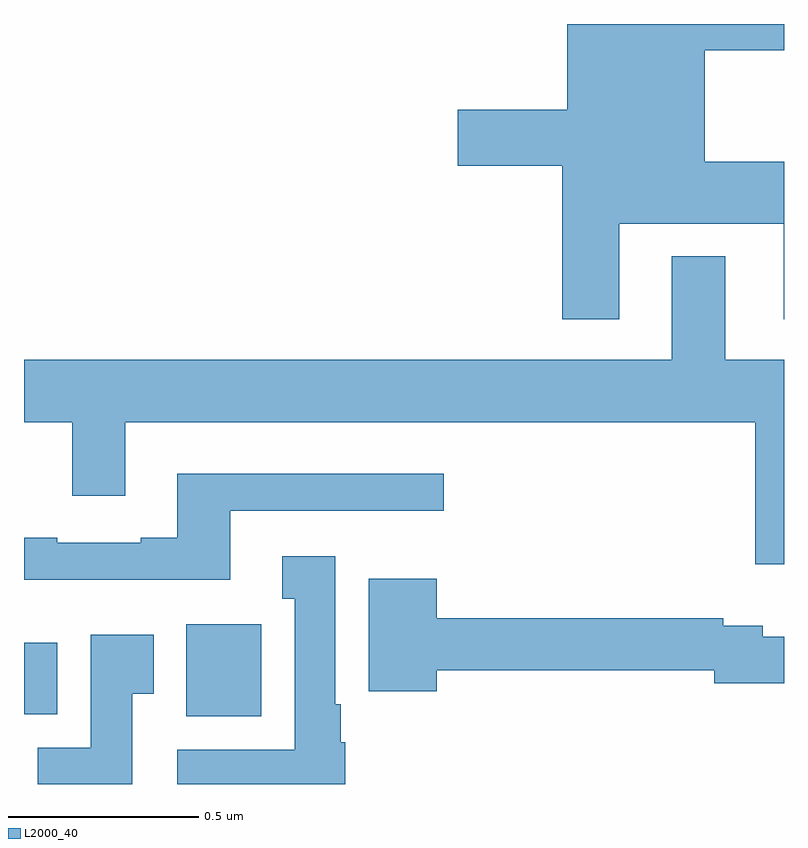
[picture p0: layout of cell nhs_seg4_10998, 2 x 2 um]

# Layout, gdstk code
import gdstk
lib = gdstk.Library(unit=1e-6, precision=1e-09)
def R(c, l, rs):  # rectangles x0, y0, x1, y1
    for r in rs: c.add(gdstk.rectangle(r[:2], r[2:], *l))
def P(c, l, *ps):  # polygons
    for p in ps: c.add(gdstk.Polygon(p, *l))
L2000_40 = (2000, 40)

nhs_seg4_10998 = lib.new_cell('nhs_seg4_10998')
R(nhs_seg4_10998, L2000_40, [(247.427,764.078,247.624,764.32), (247,764.084,247.087,764.272)])
P(nhs_seg4_10998, L2000_40, [(248.566,765.374),(248.999,765.374),(248.999,765.123),(249,765.123),(249,765.538),(248.791,765.538),(248.791,765.831),(249,765.831),(249,765.9),(248.429,765.9),(248.429,765.674),(248.142,765.674),(248.142,765.527),(248.417,765.527),(248.417,765.123),(248.566,765.123)],
  [(249,765.016),(248.845,765.016),(248.845,765.289),(248.705,765.289),(248.705,765.016),(247,765.016),(247,764.852),(247.127,764.852),(247.127,764.658),(247.267,764.658),(247.267,764.852),(248.924,764.852),(248.924,764.478),(249,764.478)],
  [(247.543,764.619),(248.104,764.619),(248.104,764.716),(247.403,764.716),(247.403,764.548),(247.307,764.548),(247.307,764.535),(247.087,764.535),(247.087,764.548),(247,764.548),(247,764.438),(247.543,764.438)],
  [(247.846,764.01),(247.834,764.01),(247.834,764.11),(247.819,764.11),(247.819,764.5),(247.679,764.5),(247.679,764.387),(247.712,764.387),(247.712,763.99),(247.403,763.99),(247.403,763.9),(247.846,763.9)],
  [(248.086,764.2),(248.816,764.2),(248.816,764.165),(249,764.165),(249,764.287),(248.944,764.287),(248.944,764.316),(248.84,764.316),(248.84,764.336),(248.086,764.336),(248.086,764.44),(247.907,764.44),(247.907,764.144),(248.086,764.144)],
  [(247.285,764.137),(247.342,764.137),(247.342,764.293),(247.175,764.293),(247.175,763.996),(247.036,763.996),(247.036,763.9),(247.285,763.9)])

lib.write_gds('nhs_seg4_10998.gds')
